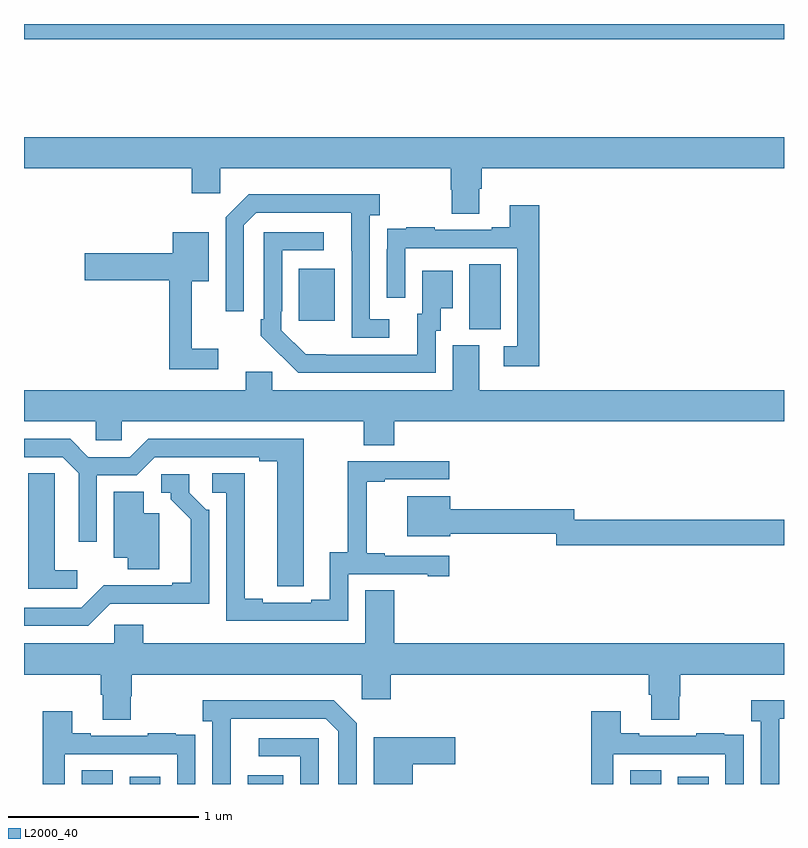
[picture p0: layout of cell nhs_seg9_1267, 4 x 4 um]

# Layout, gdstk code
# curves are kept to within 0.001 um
import gdstk
lib = gdstk.Library(unit=1e-6, precision=1e-09)
def R(c, l, rs):  # rectangles x0, y0, x1, y1
    for r in rs: c.add(gdstk.rectangle(r[:2], r[2:], *l))
def P(c, l, *ps):  # polygons
    for p in ps: c.add(gdstk.Polygon(p, *l))
L2000_40 = (2000, 40)

nhs_seg9_1267 = lib.new_cell('nhs_seg9_1267')
R(nhs_seg9_1267, L2000_40, [(181.304,1206.5,181.468,1206.572), (181.556,1206.5,181.717,1206.538), (182.177,1206.5,182.365,1206.547), (184.19,1206.5,184.354,1206.572), (184.442,1206.5,184.603,1206.538), (183.344,1208.893,183.508,1209.236), (182.447,1208.937,182.635,1209.211), (181,1210.42,185,1210.5)])
P(nhs_seg9_1267, L2000_40, [(183.397,1209.634),(183.41,1209.634),(183.41,1209.74),(185,1209.74),(185,1209.904),(181,1209.904),(181,1209.74),(181.883,1209.74),(181.883,1209.609),(182.034,1209.609),(182.034,1209.74),(183.245,1209.74),(183.245,1209.627),(183.25,1209.627),(183.25,1209.502),(183.397,1209.502)],
  [(182.923,1208.946),(182.82,1208.946),(182.82,1209.494),(182.872,1209.494),(182.872,1209.604),(182.182,1209.604),(182.061,1209.483),(182.061,1208.988),(182.157,1208.988),(182.157,1209.441),(182.223,1209.507),(182.723,1209.507),(182.724,1208.85),(182.923,1208.85)],
  [(183.713,1209.547),(183.557,1209.547),(183.557,1209.43),(183.461,1209.43),(183.461,1209.417),(183.161,1209.417),(183.161,1209.43),(183.013,1209.43),(183.013,1209.423),(182.911,1209.423),(182.911,1209.314),(182.91,1209.314),(182.91,1209.06),(183.006,1209.06),(183.006,1209.321),(183.597,1209.321),(183.597,1208.805),(183.525,1208.805),(183.525,1208.7),(183.713,1208.7)],
  [(183.168,1208.886),(183.193,1208.886),(183.193,1209.005),(183.256,1209.005),(183.256,1209.202),(183.095,1209.202),(183.095,1208.976),(183.071,1208.976),(183.071,1208.76),(182.484,1208.761),(182.355,1208.889),(182.355,1208.989),(182.358,1208.989),(182.358,1209.309),(182.578,1209.309),(182.578,1209.405),(182.262,1209.405),(182.262,1208.947),(182.247,1208.947),(182.247,1208.859),(182.444,1208.664),(183.168,1208.664)],
  [(182.023,1208.791),(181.883,1208.791),(181.883,1209.146),(181.972,1209.146),(181.972,1209.403),(181.784,1209.403),(181.784,1209.294),(181.32,1209.294),(181.32,1209.152),(181.765,1209.152),(181.765,1208.682),(182.023,1208.682)],
  [(182.948,1208.408),(185,1208.408),(185,1208.572),(183.397,1208.572),(183.397,1208.808),(183.257,1208.808),(183.257,1208.572),(182.307,1208.572),(182.307,1208.67),(182.168,1208.67),(182.168,1208.572),(181,1208.572),(181,1208.408),(181.377,1208.408),(181.377,1208.31),(181.515,1208.31),(181.515,1208.408),(182.788,1208.408),(182.788,1208.284),(182.948,1208.284)],
  [(182.472,1207.648),(182.473,1208.316),(181.653,1208.316),(181.557,1208.22),(181.339,1208.22),(181.243,1208.316),(181,1208.316),(181,1208.22),(181.203,1208.22),(181.287,1208.136),(181.287,1207.776),(181.383,1207.776),(181.383,1208.124),(181.593,1208.124),(181.689,1208.22),(182.237,1208.22),(182.237,1208.2),(182.333,1208.2),(182.333,1207.54),(182.472,1207.54)],
  [(182.706,1207.605),(183.125,1207.605),(183.125,1207.593),(183.238,1207.593),(183.238,1207.701),(182.899,1207.701),(182.899,1207.714),(182.804,1207.714),(182.804,1208.091),(182.899,1208.091),(182.899,1208.103),(183.238,1208.103),(183.238,1208.199),(182.704,1208.199),(182.704,1207.721),(182.609,1207.721),(182.609,1207.47),(182.513,1207.47),(182.513,1207.455),(182.257,1207.455),(182.257,1207.475),(182.161,1207.475),(182.161,1208.135),(181.992,1208.135),(181.992,1208.034),(182.064,1208.034),(182.064,1207.359),(182.706,1207.359)],
  [(181.279,1207.624),(181.162,1207.624),(181.162,1208.027),(181.161,1208.027),(181.161,1208.135),(181.022,1208.135),(181.022,1207.527),(181.279,1207.527)],
  [(181.455,1207.449),(181.974,1207.448),(181.974,1207.944),(181.959,1207.944),(181.869,1208.034),(181.869,1208.13),(181.722,1208.13),(181.722,1208.034),(181.772,1208.034),(181.772,1207.999),(181.877,1207.894),(181.877,1207.558),(181.781,1207.558),(181.781,1207.545),(181.42,1207.546),(181.302,1207.428),(181,1207.428),(181,1207.332),(181.338,1207.332)],
  [(181.711,1207.924),(181.63,1207.924),(181.63,1208.039),(181.472,1208.039),(181.472,1207.691),(181.547,1207.691),(181.547,1207.63),(181.711,1207.63)],
  [(185,1207.892),(183.897,1207.892),(183.897,1207.945),(183.244,1207.945),(183.244,1208.014),(183.017,1208.014),(183.017,1207.805),(183.244,1207.805),(183.244,1207.816),(183.801,1207.816),(183.801,1207.756),(185,1207.756)],
  [(181.476,1207.24),(181,1207.24),(181,1207.076),(181.403,1207.076),(181.403,1206.97),(181.415,1206.97),(181.415,1206.838),(181.563,1206.838),(181.563,1206.963),(181.568,1206.963),(181.568,1207.076),(182.778,1207.076),(182.778,1206.945),(182.93,1206.945),(182.93,1207.076),(184.289,1207.076),(184.289,1206.97),(184.301,1206.97),(184.301,1206.838),(184.449,1206.838),(184.449,1206.963),(184.454,1206.963),(184.454,1207.076),(185,1207.076),(185,1207.24),(182.948,1207.24),(182.948,1207.52),(182.795,1207.52),(182.795,1207.24),(181.628,1207.24),(181.628,1207.338),(181.476,1207.338)],
  [(184.974,1206.643),(184.975,1206.643),(184.975,1206.843),(185,1206.843),(185,1206.94),(184.827,1206.94),(184.827,1206.83),(184.878,1206.83),(184.878,1206.5),(184.974,1206.5)],
  [(182.088,1206.643),(182.089,1206.843),(182.589,1206.843),(182.655,1206.777),(182.655,1206.5),(182.751,1206.5),(182.751,1206.819),(182.63,1206.94),(181.941,1206.94),(181.941,1206.83),(181.992,1206.83),(181.992,1206.5),(182.088,1206.5)],
  [(181.215,1206.657),(181.806,1206.657),(181.806,1206.5),(181.902,1206.5),(181.902,1206.65),(181.901,1206.65),(181.901,1206.759),(181.799,1206.759),(181.799,1206.766),(181.651,1206.766),(181.651,1206.753),(181.351,1206.753),(181.351,1206.766),(181.255,1206.766),(181.255,1206.883),(181.099,1206.883),(181.099,1206.5),(181.215,1206.5)],
  [(184.101,1206.657),(184.692,1206.657),(184.692,1206.5),(184.788,1206.5),(184.788,1206.65),(184.787,1206.65),(184.787,1206.759),(184.685,1206.759),(184.685,1206.766),(184.537,1206.766),(184.537,1206.753),(184.237,1206.753),(184.237,1206.766),(184.141,1206.766),(184.141,1206.883),(183.985,1206.883),(183.985,1206.5),(184.101,1206.5)],
  [(183.047,1206.605),(183.271,1206.605),(183.271,1206.747),(182.84,1206.747),(182.84,1206.5),(183.047,1206.5)],
  [(182.55,1206.741),(182.235,1206.741),(182.235,1206.645),(182.454,1206.645),(182.454,1206.5),(182.55,1206.5)])

lib.write_gds('nhs_seg9_1267.gds')
